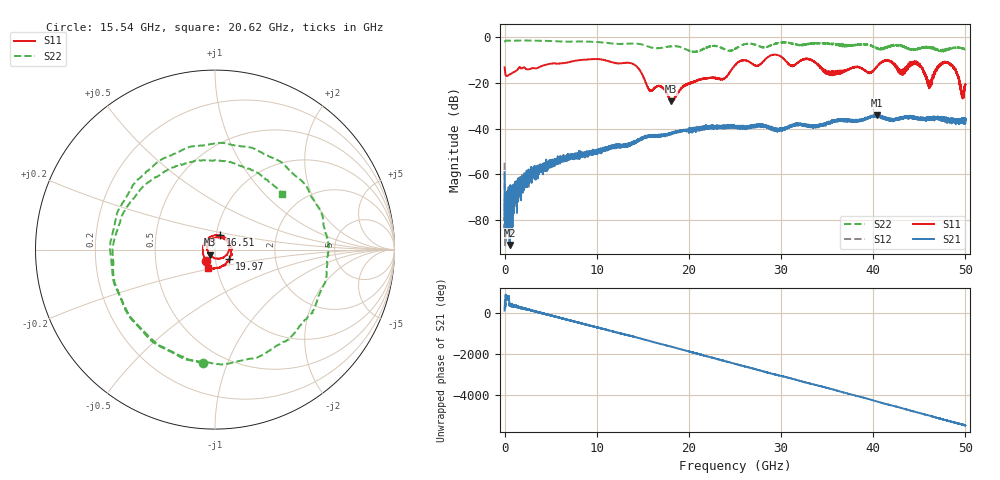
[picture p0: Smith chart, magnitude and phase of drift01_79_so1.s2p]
!Created with skrf (http://scikit-rf.org).
# Hz S RI R 50.0
!freq ReS11 ImS11 ReS21 ImS21 ReS12 ImS12 ReS22 ImS22
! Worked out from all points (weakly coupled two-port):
!   10001 points, 300 kHz to 50 GHz, reference 50 ohm
!   highest |S21| = -34.01 dB at 40.41 GHz (marker M1); lowest = -90.9 dB at 540.3 MHz (marker M2)
!   lowest |S11| = -27.9 dB at 18.09 GHz (marker M3), VSWR 1.08, Z = 47.1 - j2.64 ohm
!   |S11| at or under -10 dB: start of sweep to 8.045 GHz; 10.92 GHz to 25.86 GHz (14.94 GHz wide, 81.3 % of centre); 41.57 GHz to end of sweep (the widest 3 of 19)
!   |S22| runs from -6.4 to -1.3 dB; largest |S21 - S12| = 0.0042
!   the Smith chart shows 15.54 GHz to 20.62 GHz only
!   S11 on the Smith chart (normalised r, x): 15.54 GHz: 0.90, -0.11; 16.51 GHz: 1.04, +0.17; 19.97 GHz: 1.17, -0.12; 20.62 GHz: 0.91, -0.19
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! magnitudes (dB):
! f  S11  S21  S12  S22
! 300 kHz  -13.1  -59.0  -54.9  -2.1
! 255.3 MHz  -16.9  -81.0  -82.7  -1.4
! 540.3 MHz  -16.3  -90.9  -73.3  -1.4
! 2.99 GHz  -13.5  -57.4  -57.2  -1.4
! 8.335 GHz  -9.9  -51.9  -51.6  -1.8
! 13.87 GHz  -11.5  -46.5  -46.6  -2.7
! 15.54 GHz  -21.8  -43.3  -43.6  -4.0
! 16.51 GHz  -21.5  -43.0  -43.0  -4.8
! 16.67 GHz  -21.2  -43.2  -42.9  -4.8
! 18.09 GHz  -27.9  -42.3  -42.1  -4.0
! 19.97 GHz  -20.3  -40.8  -40.5  -5.7
! 20.62 GHz  -19.3  -40.7  -40.2  -6.3
! 25 GHz  -12.2  -39.4  -39.0  -5.0
! 33.34 GHz  -10.0  -39.0  -38.9  -2.6
! 35.33 GHz  -15.7  -37.2  -37.1  -2.6
! 40.41 GHz  -13.0  -34.0  -34.3  -5.0
! 41.67 GHz  -10.1  -36.1  -35.9  -4.1
! 43.03 GHz  -15.4  -35.2  -35.5  -3.7
! 44.82 GHz  -11.3  -35.9  -35.7  -5.0
! 46.1 GHz  -21.4  -36.1  -35.2  -4.6
! 48.05 GHz  -11.2  -36.6  -36.5  -5.1
! 50 GHz  -20.7  -35.6  -36.3  -5.2
